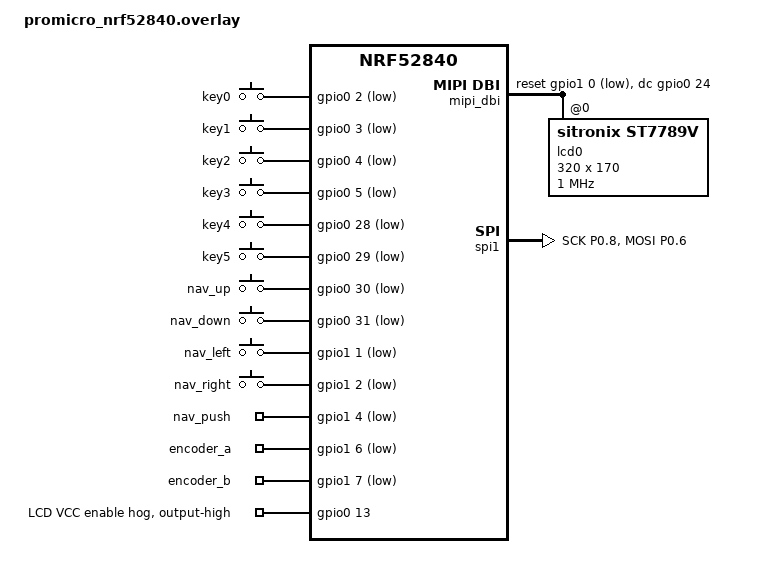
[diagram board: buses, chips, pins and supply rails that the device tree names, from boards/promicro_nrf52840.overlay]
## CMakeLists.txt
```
cmake_minimum_required(VERSION 3.20.0)

find_package(Zephyr REQUIRED HINTS $ENV{ZEPHYR_BASE})
project(ai_code_pager)

option(LCD_DIAGNOSTIC_BUILD "Build the standalone ST7789 wiring diagnostic" OFF)

if(LCD_DIAGNOSTIC_BUILD)
  target_sources(app PRIVATE src/lcd_diagnostic.c)
else()
  target_include_directories(app PRIVATE
    src
    src/assets
  )

  target_sources(app PRIVATE
    src/main.c
    src/app_protocol.c
    src/ble.c
    src/input.c
    src/storage.c
    src/ui.c
    src/assets/pet_animations.c
  )
endif()
```

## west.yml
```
manifest:
  version: "1.2"

  remotes:
    - name: zephyrproject-rtos
      url-base: https://github.com/zephyrproject-rtos

  projects:
    - name: zephyr
      remote: zephyrproject-rtos
      revision: v3.7.1
      import: true

  self:
    path: app
```

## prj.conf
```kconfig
# Core
CONFIG_MAIN_STACK_SIZE=4096
CONFIG_SYSTEM_WORKQUEUE_STACK_SIZE=2048
CONFIG_HEAP_MEM_POOL_SIZE=16384
CONFIG_NEWLIB_LIBC=y
CONFIG_NEWLIB_LIBC_NANO=y

# Release diagnostics are disabled to stay within the write window of the
# nice!nano 0.6.0 UF2 bootloader (application blocks must remain below 0xAD000).
CONFIG_LOG=n
CONFIG_UART_CONSOLE=n

# Peripherals
CONFIG_GPIO=y
CONFIG_SPI=y
CONFIG_DISPLAY=y
CONFIG_DISPLAY_LOG_LEVEL_WRN=y

# LVGL 8 on Zephyr 3.7 LTS
CONFIG_LVGL=y
CONFIG_LV_MEM_CUSTOM=y
CONFIG_LV_Z_MEM_POOL_SIZE=24576
CONFIG_LV_Z_BUFFER_ALLOC_STATIC=y
CONFIG_LV_Z_VDB_SIZE=12
CONFIG_LV_Z_DOUBLE_VDB=n
CONFIG_LV_USE_ANIMIMG=y
CONFIG_LV_USE_LABEL=y
CONFIG_LV_USE_BAR=y
CONFIG_LV_USE_FLEX=y
CONFIG_LV_FONT_MONTSERRAT_12=y
CONFIG_LV_FONT_MONTSERRAT_14=y
CONFIG_LV_COLOR_DEPTH_16=y

# BLE HID + vendor configuration channel
CONFIG_BT=y
CONFIG_BT_PERIPHERAL=y
CONFIG_BT_DEVICE_NAME="AI-Code-Pager"
CONFIG_BT_DEVICE_APPEARANCE=961
CONFIG_BT_MAX_CONN=1
CONFIG_BT_GATT_DYNAMIC_DB=n
CONFIG_BT_SMP=y
CONFIG_BT_BONDABLE=y
CONFIG_BT_SETTINGS=y
CONFIG_BT_GATT_CLIENT=n
CONFIG_BT_BUF_ACL_RX_SIZE=251
CONFIG_BT_BUF_ACL_TX_SIZE=251
CONFIG_BT_L2CAP_TX_MTU=247
CONFIG_BT_ATT_PREPARE_COUNT=2

# Persistent keymap
CONFIG_FLASH=y
CONFIG_FLASH_MAP=y
CONFIG_NVS=y
CONFIG_SETTINGS=y
CONFIG_SETTINGS_NVS=y
CONFIG_MPU_ALLOW_FLASH_WRITE=y

# Power
CONFIG_PM_DEVICE=y
CONFIG_TICKLESS_KERNEL=y

# Keep unused subsystems out of the image
CONFIG_SERIAL=n
CONFIG_CONSOLE=n
CONFIG_PRINTK=n

# GitHub Actions release artifacts
CONFIG_BUILD_OUTPUT_HEX=y
CONFIG_BUILD_OUTPUT_BIN=y
CONFIG_BUILD_OUTPUT_UF2=y
```

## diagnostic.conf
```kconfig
# Minimal standalone LCD test. BLE, LVGL and the application are deliberately
# excluded so the UF2 only verifies power, wiring and the ST7789 SPI link.
CONFIG_MAIN_STACK_SIZE=2048

CONFIG_GPIO=y
CONFIG_SPI=y

CONFIG_BT=n
CONFIG_DISPLAY=n
CONFIG_LVGL=n
CONFIG_PM_DEVICE=n

CONFIG_SERIAL=n
CONFIG_CONSOLE=n
CONFIG_UART_CONSOLE=n
CONFIG_PRINTK=n
CONFIG_LOG=n

CONFIG_BUILD_OUTPUT_HEX=y
CONFIG_BUILD_OUTPUT_BIN=y
CONFIG_BUILD_OUTPUT_UF2=y
```

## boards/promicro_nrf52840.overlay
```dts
#include <zephyr/dt-bindings/gpio/gpio.h>
#include <zephyr/dt-bindings/mipi_dbi/mipi_dbi.h>
#include <zephyr/dt-bindings/pinctrl/nrf-pinctrl.h>

/* SuperMini nRF52840 ProMicro pin map from ProMicroNRF52840Foot.jpg. */

/ {
    chosen {
        zephyr,display = &lcd0;
    };

    aliases {
        input0 = &key0;
        input1 = &key1;
        input2 = &key2;
        input3 = &key3;
        input4 = &key4;
        input5 = &key5;
        nav-up = &nav_up;
        nav-down = &nav_down;
        nav-left = &nav_left;
        nav-right = &nav_right;
        nav-push = &nav_push;
        encoder-a = &encoder_a;
        encoder-b = &encoder_b;
    };

    keys {
        compatible = "gpio-keys";
        key0: key_0 { gpios = <&gpio0 2 (GPIO_PULL_UP | GPIO_ACTIVE_LOW)>; };
        key1: key_1 { gpios = <&gpio0 3 (GPIO_PULL_UP | GPIO_ACTIVE_LOW)>; };
        key2: key_2 { gpios = <&gpio0 4 (GPIO_PULL_UP | GPIO_ACTIVE_LOW)>; };
        key3: key_3 { gpios = <&gpio0 5 (GPIO_PULL_UP | GPIO_ACTIVE_LOW)>; };
        key4: key_4 { gpios = <&gpio0 28 (GPIO_PULL_UP | GPIO_ACTIVE_LOW)>; };
        key5: key_5 { gpios = <&gpio0 29 (GPIO_PULL_UP | GPIO_ACTIVE_LOW)>; };
        nav_up: nav_up { gpios = <&gpio0 30 (GPIO_PULL_UP | GPIO_ACTIVE_LOW)>; };
        nav_down: nav_down { gpios = <&gpio0 31 (GPIO_PULL_UP | GPIO_ACTIVE_LOW)>; };
        nav_left: nav_left { gpios = <&gpio1 1 (GPIO_PULL_UP | GPIO_ACTIVE_LOW)>; };
        nav_right: nav_right { gpios = <&gpio1 2 (GPIO_PULL_UP | GPIO_ACTIVE_LOW)>; };
        nav_push: nav_push { gpios = <&gpio1 4 (GPIO_PULL_UP | GPIO_ACTIVE_LOW)>; };
        encoder_a: encoder_a { gpios = <&gpio1 6 (GPIO_PULL_UP | GPIO_ACTIVE_LOW)>; };
        encoder_b: encoder_b { gpios = <&gpio1 7 (GPIO_PULL_UP | GPIO_ACTIVE_LOW)>; };
    };

    mipi_dbi {
        compatible = "zephyr,mipi-dbi-spi";
        spi-dev = <&spi1>;
        dc-gpios = <&gpio0 24 GPIO_ACTIVE_HIGH>;
        reset-gpios = <&gpio1 0 GPIO_ACTIVE_LOW>;
        write-only;
        #address-cells = <1>;
        #size-cells = <0>;

        lcd0: st7789v@0 {
            compatible = "sitronix,st7789v";
            mipi-max-frequency = <1000000>;
            reg = <0>;
            mipi-cpol;
            mipi-cpha;
            width = <320>;
            height = <170>;
            x-offset = <0>;
            y-offset = <35>;
            vcom = <0x1a>;
            gctrl = <0x35>;
            vrhs = <0x0b>;
            vdvs = <0x20>;
            mdac = <0x70>;
            gamma = <0x01>;
            colmod = <0x05>;
            lcm = <0x2c>;
            porch-param = [0c 0c 00 33 33];
            cmd2en-param = [5a 69 02 01];
            pwctrl1-param = [a4 a1];
            pvgam-param = [00 03 07 08 07 15 2a 44 42 0a 17 18 25 27];
            nvgam-param = [00 03 08 07 07 23 2a 43 42 09 18 17 25 27];
            ram-param = [00 f0];
            rgb-param = [cd 08 14];
            mipi-mode = <MIPI_DBI_MODE_SPI_4WIRE>;
        };
    };
};

/*
 * This SuperMini revision gates its board-edge VCC pin with P0.13.
 * Keep it high from GPIO-controller initialization so the ST7789 is powered
 * before the display driver sends its reset and initialization sequence.
 */
&gpio0 {
    lcd_vcc_enable: lcd_vcc_enable {
        gpio-hog;
        gpios = <13 GPIO_ACTIVE_HIGH>;
        output-high;
        line-name = "LCD VCC enable";
    };

};

&pinctrl {
    spi1_default: spi1_default {
        group1 {
            psels = <NRF_PSEL(SPIM_SCK, 0, 8)>,
                    <NRF_PSEL(SPIM_MOSI, 0, 6)>;
        };
    };

    spi1_sleep: spi1_sleep {
        group1 {
            psels = <NRF_PSEL(SPIM_SCK, 0, 8)>,
                    <NRF_PSEL(SPIM_MOSI, 0, 6)>;
            low-power-enable;
        };
    };
};

&spi1 {
    compatible = "nordic,nrf-spim";
    status = "okay";
    pinctrl-0 = <&spi1_default>;
    pinctrl-1 = <&spi1_sleep>;
    pinctrl-names = "default", "sleep";
    cs-gpios = <&gpio0 22 GPIO_ACTIVE_LOW>;
};
```

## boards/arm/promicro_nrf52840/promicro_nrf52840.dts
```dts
/dts-v1/;
#include <nordic/nrf52840_qiaa.dtsi>

/ {
    model = "ProMicro-compatible nRF52840";
    compatible = "custom,promicro-nrf52840";

    chosen {
        zephyr,sram = &sram0;
        zephyr,flash = &flash0;
        zephyr,code-partition = &code_partition;
    };
};

&gpio0 { status = "okay"; };
&gpio1 { status = "okay"; };
&gpiote { status = "okay"; };

&flash0 {
    partitions {
        compatible = "fixed-partitions";
        #address-cells = <1>;
        #size-cells = <1>;

        bootloader_gap: partition@0 {
            label = "softdevice-gap";
            reg = <0x00000000 0x00026000>;
            read-only;
        };

        code_partition: partition@26000 {
            label = "code-partition";
            reg = <0x00026000 0x000c6000>;
        };

        storage_partition: partition@ec000 {
            label = "storage";
            reg = <0x000ec000 0x00008000>;
        };

        boot_partition: partition@f4000 {
            label = "adafruit-boot";
            reg = <0x000f4000 0x0000c000>;
            read-only;
        };
    };
};
```

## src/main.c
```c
#include "app.h"

#include <zephyr/kernel.h>
#include <zephyr/logging/log.h>
#include <zephyr/sys/util.h>
#include <lvgl.h>

LOG_MODULE_REGISTER(ai_code_pager, LOG_LEVEL_INF);

int main(void)
{
    int err = app_ui_init();
    if (err) {
        LOG_ERR("UI initialization failed (%d)", err);
        return err;
    }

    err = app_ble_init();
    if (err) {
        return err;
    }

    err = app_storage_init();
    if (err) {
        LOG_WRN("Using default keymap because settings failed (%d)", err);
    }

    err = app_input_init();
    if (err) {
        return err;
    }

    err = app_ble_start_advertising();
    if (err) {
        return err;
    }

    LOG_INF("AI-Code-Pager ready");
    while (true) {
        app_ui_process();
        uint32_t wait_ms = lv_timer_handler();
        k_sleep(K_MSEC(CLAMP(wait_ms, 5U, 20U)));
    }
    return 0;
}
```

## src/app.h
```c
#pragma once

#include <stdbool.h>
#include <stddef.h>
#include <stdint.h>

#define APP_INPUT_COUNT 13
#define APP_TEXT_CHUNK_MAX 180

enum app_input_id {
    APP_KEY_1 = 0,
    APP_KEY_2,
    APP_KEY_3,
    APP_KEY_4,
    APP_KEY_5,
    APP_KEY_6,
    APP_NAV_UP,
    APP_NAV_DOWN,
    APP_NAV_LEFT,
    APP_NAV_RIGHT,
    APP_NAV_PUSH,
    APP_ENCODER_CCW,
    APP_ENCODER_CW,
};

enum app_pet_state {
    APP_PET_SCRATCH = 0,
    APP_PET_POINT_DOWN,
    APP_PET_CHEER,
    APP_PET_SLEEP,
    APP_PET_STATE_COUNT,
};

struct app_keymap_entry {
    uint8_t modifiers;
    uint8_t usage;
};

int app_protocol_handle(const uint8_t *data, size_t len);
void app_on_input(uint8_t input_id, bool pressed);

int app_storage_init(void);
const struct app_keymap_entry *app_keymap_get(void);
int app_keymap_set(uint8_t input_id, uint8_t modifiers, uint8_t usage);
int app_keymap_save(void);
int app_keymap_reset(void);

int app_ble_init(void);
int app_ble_start_advertising(void);
bool app_ble_is_connected(void);
int app_ble_hid_report(const uint8_t report[8]);
int app_ble_vendor_notify(const uint8_t *data, size_t len);

int app_input_init(void);

int app_ui_init(void);
void app_ui_process(void);
void app_ui_post_input(uint8_t input_id, bool pressed);
void app_ui_post_text(const uint8_t *text, size_t len, bool start, bool end);
void app_ui_post_pet_state(enum app_pet_state state);
void app_ui_post_connection(bool connected);
```

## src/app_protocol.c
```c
#include "app.h"

#include <errno.h>
#include <string.h>
#include <zephyr/logging/log.h>
#include <zephyr/sys/util.h>

LOG_MODULE_REGISTER(pager_protocol, LOG_LEVEL_INF);

enum pager_opcode {
    PAGER_OP_SET_KEY = 0x01,
    PAGER_OP_SAVE_KEYMAP = 0x02,
    PAGER_OP_RESET_KEYMAP = 0x03,
    PAGER_OP_GET_KEYMAP = 0x04,
    PAGER_OP_TEXT = 0x10,
    PAGER_OP_PET_STATE = 0x11,
    PAGER_OP_PING = 0x20,
    PAGER_EVT_INPUT = 0x80,
    PAGER_EVT_ACK = 0x81,
    PAGER_EVT_KEYMAP = 0x82,
};

static bool pressed[APP_INPUT_COUNT];

static void send_ack(uint8_t opcode, int status)
{
    const uint8_t packet[] = {
        PAGER_EVT_ACK,
        opcode,
        (uint8_t)(status == 0 ? 0 : -status),
    };
    (void)app_ble_vendor_notify(packet, sizeof(packet));
}

static void send_keymap(void)
{
    uint8_t packet[2 + APP_INPUT_COUNT * 2];
    const struct app_keymap_entry *map = app_keymap_get();

    packet[0] = PAGER_EVT_KEYMAP;
    packet[1] = APP_INPUT_COUNT;
    for (size_t i = 0; i < APP_INPUT_COUNT; ++i) {
        packet[2 + i * 2] = map[i].modifiers;
        packet[3 + i * 2] = map[i].usage;
    }
    (void)app_ble_vendor_notify(packet, sizeof(packet));
}

static void rebuild_hid_report(void)
{
    uint8_t report[8] = { 0 };
    const struct app_keymap_entry *map = app_keymap_get();
    size_t key_slot = 2;

    for (size_t i = 0; i < APP_INPUT_COUNT; ++i) {
        if (!pressed[i] || map[i].usage == 0) {
            continue;
        }
        report[0] |= map[i].modifiers;
        if (key_slot < sizeof(report)) {
            report[key_slot++] = map[i].usage;
        }
    }
    (void)app_ble_hid_report(report);
}

void app_on_input(uint8_t input_id, bool is_pressed)
{
    if (input_id >= APP_INPUT_COUNT) {
        return;
    }

    pressed[input_id] = is_pressed;
    rebuild_hid_report();
    app_ui_post_input(input_id, is_pressed);

    const uint8_t event[] = { PAGER_EVT_INPUT, input_id, is_pressed ? 1 : 0 };
    (void)app_ble_vendor_notify(event, sizeof(event));
}

int app_protocol_handle(const uint8_t *data, size_t len)
{
    if (data == NULL || len == 0) {
        return -EINVAL;
    }

    int err = 0;
    switch (data[0]) {
    case PAGER_OP_SET_KEY:
        if (len != 4) {
            err = -EMSGSIZE;
            break;
        }
        err = app_keymap_set(data[1], data[2], data[3]);
        break;
    case PAGER_OP_SAVE_KEYMAP:
        err = app_keymap_save();
        break;
    case PAGER_OP_RESET_KEYMAP:
        err = app_keymap_reset();
        if (!err) {
            send_keymap();
        }
        break;
    case PAGER_OP_GET_KEYMAP:
        send_keymap();
        break;
    case PAGER_OP_TEXT:
        if (len < 3) {
            err = -EMSGSIZE;
            break;
        }
        app_ui_post_text(&data[2], len - 2, (data[1] & 0x01) != 0,
                         (data[1] & 0x02) != 0);
        break;
    case PAGER_OP_PET_STATE:
        if (len != 2 || data[1] >= APP_PET_STATE_COUNT) {
            err = -EINVAL;
            break;
        }
        app_ui_post_pet_state((enum app_pet_state)data[1]);
        break;
    case PAGER_OP_PING:
        break;
    default:
        err = -ENOTSUP;
        break;
    }

    send_ack(data[0], err);
    return err;
}
```

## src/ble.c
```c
#include "app.h"

#include <errno.h>
#include <string.h>
#include <zephyr/bluetooth/bluetooth.h>
#include <zephyr/bluetooth/conn.h>
#include <zephyr/bluetooth/gatt.h>
#include <zephyr/bluetooth/hci.h>
#include <zephyr/bluetooth/uuid.h>
#include <zephyr/logging/log.h>
#include <zephyr/sys/util.h>

LOG_MODULE_REGISTER(pager_ble, LOG_LEVEL_INF);

#define UUID_HID_SERVICE       BT_UUID_DECLARE_16(0x1812)
#define UUID_HID_INFO          BT_UUID_DECLARE_16(0x2a4a)
#define UUID_HID_REPORT_MAP    BT_UUID_DECLARE_16(0x2a4b)
#define UUID_HID_CONTROL_POINT BT_UUID_DECLARE_16(0x2a4c)
#define UUID_HID_REPORT        BT_UUID_DECLARE_16(0x2a4d)
#define UUID_HID_PROTOCOL_MODE BT_UUID_DECLARE_16(0x2a4e)
#define UUID_REPORT_REFERENCE  BT_UUID_DECLARE_16(0x2908)

#define PAGER_UUID_SERVICE_VAL \
    BT_UUID_128_ENCODE(0x12345678, 0x1234, 0x5678, 0x1234, 0x56789abcdef0)
#define PAGER_UUID_RX_VAL \
    BT_UUID_128_ENCODE(0x12345678, 0x1234, 0x5678, 0x1234, 0x56789abcdef1)
#define PAGER_UUID_TX_VAL \
    BT_UUID_128_ENCODE(0x12345678, 0x1234, 0x5678, 0x1234, 0x56789abcdef2)

static struct bt_uuid_128 pager_service_uuid = BT_UUID_INIT_128(PAGER_UUID_SERVICE_VAL);
static struct bt_uuid_128 pager_rx_uuid = BT_UUID_INIT_128(PAGER_UUID_RX_VAL);
static struct bt_uuid_128 pager_tx_uuid = BT_UUID_INIT_128(PAGER_UUID_TX_VAL);

static struct bt_conn *active_conn;
static bool hid_notify_enabled;
static bool vendor_notify_enabled;
static uint8_t protocol_mode = 1;
static uint8_t last_hid_report[8];

static const uint8_t hid_information[] = { 0x11, 0x01, 0x00, 0x02 };
static const uint8_t report_reference[] = { 0x01, 0x01 };
static const uint8_t keyboard_report_map[] = {
    0x05, 0x01,       /* Usage Page (Generic Desktop) */
    0x09, 0x06,       /* Usage (Keyboard) */
    0xa1, 0x01,       /* Collection (Application) */
    0x85, 0x01,       /*   Report ID (1) */
    0x05, 0x07,       /*   Usage Page (Keyboard) */
    0x19, 0xe0,       /*   Usage Minimum (Left Control) */
    0x29, 0xe7,       /*   Usage Maximum (Right GUI) */
    0x15, 0x00,       /*   Logical Minimum (0) */
    0x25, 0x01,       /*   Logical Maximum (1) */
    0x75, 0x01,       /*   Report Size (1) */
    0x95, 0x08,       /*   Report Count (8) */
    0x81, 0x02,       /*   Input (Data, Variable, Absolute) */
    0x95, 0x01,       /*   Report Count (1) */
    0x75, 0x08,       /*   Report Size (8) */
    0x81, 0x01,       /*   Input (Constant) */
    0x95, 0x06,       /*   Report Count (6) */
    0x75, 0x08,       /*   Report Size (8) */
    0x15, 0x00,       /*   Logical Minimum (0) */
    0x25, 0x73,       /*   Logical Maximum (115) */
    0x19, 0x00,       /*   Usage Minimum (0) */
    0x29, 0x73,       /*   Usage Maximum (Keyboard Application) */
    0x81, 0x00,       /*   Input (Data, Array) */
    0xc0,             /* End Collection */
};

static const struct bt_data advertising_data[] = {
    BT_DATA_BYTES(BT_DATA_FLAGS, BT_LE_AD_GENERAL | BT_LE_AD_NO_BREDR),
    BT_DATA_BYTES(BT_DATA_UUID16_ALL, BT_UUID_16_ENCODE(0x1812)),
    BT_DATA_BYTES(BT_DATA_UUID128_ALL, PAGER_UUID_SERVICE_VAL),
};

static const struct bt_data scan_response_data[] = {
    BT_DATA(BT_DATA_NAME_COMPLETE, CONFIG_BT_DEVICE_NAME,
            sizeof(CONFIG_BT_DEVICE_NAME) - 1),
};

static ssize_t read_const(struct bt_conn *conn, const struct bt_gatt_attr *attr,
                          void *buf, uint16_t len, uint16_t offset,
                          const void *data, uint16_t data_len)
{
    return bt_gatt_attr_read(conn, attr, buf, len, offset, data, data_len);
}

static ssize_t read_hid_info(struct bt_conn *conn, const struct bt_gatt_attr *attr,
                             void *buf, uint16_t len, uint16_t offset)
{
    return read_const(conn, attr, buf, len, offset, hid_information,
                      sizeof(hid_information));
}

static ssize_t read_report_map(struct bt_conn *conn, const struct bt_gatt_attr *attr,
                               void *buf, uint16_t len, uint16_t offset)
{
    return read_const(conn, attr, buf, len, offset, keyboard_report_map,
                      sizeof(keyboard_report_map));
}

static ssize_t read_protocol_mode(struct bt_conn *conn,
                                  const struct bt_gatt_attr *attr, void *buf,
                                  uint16_t len, uint16_t offset)
{
    return read_const(conn, attr, buf, len, offset, &protocol_mode,
                      sizeof(protocol_mode));
}

static ssize_t write_protocol_mode(struct bt_conn *conn,
                                   const struct bt_gatt_attr *attr,
                                   const void *buf, uint16_t len,
                                   uint16_t offset, uint8_t flags)
{
    if (offset != 0 || len != 1) {
        return BT_GATT_ERR(BT_ATT_ERR_INVALID_ATTRIBUTE_LEN);
    }
    protocol_mode = *(const uint8_t *)buf;
    return len;
}

static ssize_t write_control_point(struct bt_conn *conn,
                                   const struct bt_gatt_attr *attr,
                                   const void *buf, uint16_t len,
                                   uint16_t offset, uint8_t flags)
{
    return (offset == 0 && len == 1) ? len
                                     : BT_GATT_ERR(BT_ATT_ERR_INVALID_ATTRIBUTE_LEN);
}

static ssize_t read_hid_report(struct bt_conn *conn,
                               const struct bt_gatt_attr *attr, void *buf,
                               uint16_t len, uint16_t offset)
{
    return read_const(conn, attr, buf, len, offset, last_hid_report,
                      sizeof(last_hid_report));
}

static ssize_t read_report_reference(struct bt_conn *conn,
                                     const struct bt_gatt_attr *attr, void *buf,
                                     uint16_t len, uint16_t offset)
{
    return read_const(conn, attr, buf, len, offset, report_reference,
                      sizeof(report_reference));
}

static void hid_ccc_changed(const struct bt_gatt_attr *attr, uint16_t value)
{
    hid_notify_enabled = (value == BT_GATT_CCC_NOTIFY);
}

BT_GATT_SERVICE_DEFINE(hid_svc,
    BT_GATT_PRIMARY_SERVICE(UUID_HID_SERVICE),
    BT_GATT_CHARACTERISTIC(UUID_HID_INFO, BT_GATT_CHRC_READ,
                           BT_GATT_PERM_READ, read_hid_info, NULL, NULL),
    BT_GATT_CHARACTERISTIC(UUID_HID_REPORT_MAP, BT_GATT_CHRC_READ,
                           BT_GATT_PERM_READ, read_report_map, NULL, NULL),
    BT_GATT_CHARACTERISTIC(UUID_HID_PROTOCOL_MODE,
                           BT_GATT_CHRC_READ | BT_GATT_CHRC_WRITE_WITHOUT_RESP,
                           BT_GATT_PERM_READ | BT_GATT_PERM_WRITE,
                           read_protocol_mode, write_protocol_mode, NULL),
    BT_GATT_CHARACTERISTIC(UUID_HID_CONTROL_POINT,
                           BT_GATT_CHRC_WRITE_WITHOUT_RESP,
                           BT_GATT_PERM_WRITE, NULL, write_control_point, NULL),
    BT_GATT_CHARACTERISTIC(UUID_HID_REPORT,
                           BT_GATT_CHRC_READ | BT_GATT_CHRC_NOTIFY,
                           BT_GATT_PERM_READ, read_hid_report, NULL, NULL),
    BT_GATT_CCC(hid_ccc_changed, BT_GATT_PERM_READ | BT_GATT_PERM_WRITE),
    BT_GATT_DESCRIPTOR(UUID_REPORT_REFERENCE, BT_GATT_PERM_READ,
                       read_report_reference, NULL, NULL)
);

static ssize_t write_vendor_rx(struct bt_conn *conn,
                               const struct bt_gatt_attr *attr,
                               const void *buf, uint16_t len,
                               uint16_t offset, uint8_t flags)
{
    if (offset != 0 || len == 0) {
        return BT_GATT_ERR(BT_ATT_ERR_INVALID_OFFSET);
    }
    int err = app_protocol_handle(buf, len);
    if (err == -EMSGSIZE) {
        return BT_GATT_ERR(BT_ATT_ERR_INVALID_ATTRIBUTE_LEN);
    }
    return len;
}

static void vendor_ccc_changed(const struct bt_gatt_attr *attr, uint16_t value)
{
    vendor_notify_enabled = (value == BT_GATT_CCC_NOTIFY);
}

BT_GATT_SERVICE_DEFINE(pager_svc,
    BT_GATT_PRIMARY_SERVICE(&pager_service_uuid),
    BT_GATT_CHARACTERISTIC(&pager_rx_uuid.uuid,
                           BT_GATT_CHRC_WRITE | BT_GATT_CHRC_WRITE_WITHOUT_RESP,
                           BT_GATT_PERM_WRITE, NULL, write_vendor_rx, NULL),
    BT_GATT_CHARACTERISTIC(&pager_tx_uuid.uuid, BT_GATT_CHRC_NOTIFY,
                           BT_GATT_PERM_NONE, NULL, NULL, NULL),
    BT_GATT_CCC(vendor_ccc_changed, BT_GATT_PERM_READ | BT_GATT_PERM_WRITE)
);

static void connected(struct bt_conn *conn, uint8_t conn_err)
{
    if (conn_err != 0) {
        LOG_WRN("Connection failed (0x%02x)", conn_err);
        return;
    }
    active_conn = bt_conn_ref(conn);
    app_ui_post_connection(true);
    LOG_INF("BLE connected");
}

static void disconnected(struct bt_conn *conn, uint8_t reason)
{
    if (active_conn != NULL) {
        bt_conn_unref(active_conn);
        active_conn = NULL;
    }
    hid_notify_enabled = false;
    vendor_notify_enabled = false;
    memset(last_hid_report, 0, sizeof(last_hid_report));
    app_ui_post_connection(false);
    LOG_INF("BLE disconnected (0x%02x)", reason);
    (void)app_ble_start_advertising();
}

BT_CONN_CB_DEFINE(conn_callbacks) = {
    .connected = connected,
    .disconnected = disconnected,
};

int app_ble_init(void)
{
    int err = bt_enable(NULL);
    if (err) {
        LOG_ERR("Bluetooth init failed (%d)", err);
    }
    return err;
}

int app_ble_start_advertising(void)
{
    int err = bt_le_adv_start(BT_LE_ADV_CONN, advertising_data,
                              ARRAY_SIZE(advertising_data), scan_response_data,
                              ARRAY_SIZE(scan_response_data));
    if (err && err != -EALREADY) {
        LOG_ERR("Advertising failed (%d)", err);
    }
    return err == -EALREADY ? 0 : err;
}

bool app_ble_is_connected(void)
{
    return active_conn != NULL;
}

int app_ble_hid_report(const uint8_t report[8])
{
    memcpy(last_hid_report, report, sizeof(last_hid_report));
    if (active_conn == NULL || !hid_notify_enabled) {
        return -ENOTCONN;
    }
    return bt_gatt_notify(active_conn, &hid_svc.attrs[10], last_hid_report,
                          sizeof(last_hid_report));
}

int app_ble_vendor_notify(const uint8_t *data, size_t len)
{
    if (active_conn == NULL || !vendor_notify_enabled) {
        return -ENOTCONN;
    }
    return bt_gatt_notify(active_conn, &pager_svc.attrs[4], data, len);
}
```

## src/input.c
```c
#include "app.h"

#include <errno.h>
#include <zephyr/device.h>
#include <zephyr/devicetree.h>
#include <zephyr/drivers/gpio.h>
#include <zephyr/kernel.h>
#include <zephyr/logging/log.h>
#include <zephyr/sys/atomic.h>
#include <zephyr/sys/util.h>

LOG_MODULE_REGISTER(pager_input, LOG_LEVEL_INF);

#define BUTTON_COUNT 11

static const struct gpio_dt_spec buttons[BUTTON_COUNT] = {
    GPIO_DT_SPEC_GET(DT_ALIAS(input0), gpios),
    GPIO_DT_SPEC_GET(DT_ALIAS(input1), gpios),
    GPIO_DT_SPEC_GET(DT_ALIAS(input2), gpios),
    GPIO_DT_SPEC_GET(DT_ALIAS(input3), gpios),
    GPIO_DT_SPEC_GET(DT_ALIAS(input4), gpios),
    GPIO_DT_SPEC_GET(DT_ALIAS(input5), gpios),
    GPIO_DT_SPEC_GET(DT_ALIAS(nav_up), gpios),
    GPIO_DT_SPEC_GET(DT_ALIAS(nav_down), gpios),
    GPIO_DT_SPEC_GET(DT_ALIAS(nav_left), gpios),
    GPIO_DT_SPEC_GET(DT_ALIAS(nav_right), gpios),
    GPIO_DT_SPEC_GET(DT_ALIAS(nav_push), gpios),
};

static const struct gpio_dt_spec encoder_a =
    GPIO_DT_SPEC_GET(DT_ALIAS(encoder_a), gpios);
static const struct gpio_dt_spec encoder_b =
    GPIO_DT_SPEC_GET(DT_ALIAS(encoder_b), gpios);

static struct gpio_callback button_callbacks[BUTTON_COUNT];
static struct gpio_callback encoder_callbacks[2];
static bool button_state[BUTTON_COUNT];
static struct k_work_delayable button_scan_work;
static struct k_work encoder_work;
static uint8_t encoder_previous;
static int8_t encoder_accumulator;
static atomic_t encoder_pending;

static void scan_buttons(struct k_work *work)
{
    for (uint8_t i = 0; i < BUTTON_COUNT; ++i) {
        int value = gpio_pin_get_dt(&buttons[i]);
        if (value < 0 || (bool)value == button_state[i]) {
            continue;
        }
        button_state[i] = (bool)value;
        app_on_input(i, button_state[i]);
    }
}

static void button_irq(const struct device *port, struct gpio_callback *cb,
                       gpio_port_pins_t pins)
{
    (void)k_work_reschedule(&button_scan_work, K_MSEC(10));
}

static void report_encoder(struct k_work *work)
{
    atomic_val_t steps = atomic_set(&encoder_pending, 0);
    uint8_t input_id = steps > 0 ? APP_ENCODER_CW : APP_ENCODER_CCW;
    atomic_val_t step_count = steps < 0 ? -steps : steps;

    for (atomic_val_t i = 0; i < step_count; ++i) {
        app_on_input(input_id, true);
        app_on_input(input_id, false);
    }
}

static void encoder_irq(const struct device *port, struct gpio_callback *cb,
                        gpio_port_pins_t pins)
{
    static const int8_t transition[16] = {
         0, -1,  1,  0,
         1,  0,  0, -1,
        -1,  0,  0,  1,
         0,  1, -1,  0,
    };
    int a = gpio_pin_get_dt(&encoder_a);
    int b = gpio_pin_get_dt(&encoder_b);
    if (a < 0 || b < 0) {
        return;
    }

    uint8_t current = ((uint8_t)a << 1) | (uint8_t)b;
    encoder_accumulator += transition[(encoder_previous << 2) | current];
    encoder_previous = current;

    if (encoder_accumulator >= 4) {
        atomic_inc(&encoder_pending);
        encoder_accumulator = 0;
        (void)k_work_submit(&encoder_work);
    } else if (encoder_accumulator <= -4) {
        atomic_dec(&encoder_pending);
        encoder_accumulator = 0;
        (void)k_work_submit(&encoder_work);
    }
}

static int configure_input(const struct gpio_dt_spec *spec,
                           struct gpio_callback *callback,
                           gpio_callback_handler_t handler)
{
    if (!gpio_is_ready_dt(spec)) {
        return -ENODEV;
    }
    int err = gpio_pin_configure_dt(spec, GPIO_INPUT);
    if (err) {
        return err;
    }
    gpio_init_callback(callback, handler, BIT(spec->pin));
    err = gpio_add_callback(spec->port, callback);
    if (err) {
        return err;
    }
    return gpio_pin_interrupt_configure_dt(spec, GPIO_INT_EDGE_BOTH);
}

int app_input_init(void)
{
    k_work_init_delayable(&button_scan_work, scan_buttons);
    k_work_init(&encoder_work, report_encoder);

    for (size_t i = 0; i < BUTTON_COUNT; ++i) {
        int err = configure_input(&buttons[i], &button_callbacks[i], button_irq);
        if (err) {
            LOG_ERR("Button %u init failed (%d)", (unsigned)i, err);
            return err;
        }
        button_state[i] = gpio_pin_get_dt(&buttons[i]) > 0;
    }

    int err = configure_input(&encoder_a, &encoder_callbacks[0], encoder_irq);
    if (err) {
        return err;
    }
    err = configure_input(&encoder_b, &encoder_callbacks[1], encoder_irq);
    if (err) {
        return err;
    }

    encoder_previous = ((uint8_t)(gpio_pin_get_dt(&encoder_a) > 0) << 1) |
                       (uint8_t)(gpio_pin_get_dt(&encoder_b) > 0);
    LOG_INF("13 logical inputs ready");
    return 0;
}
```

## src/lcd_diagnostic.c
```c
#include <errno.h>
#include <stddef.h>
#include <stdint.h>

#include <zephyr/device.h>
#include <zephyr/devicetree.h>
#include <zephyr/drivers/gpio.h>
#include <zephyr/drivers/spi.h>
#include <zephyr/kernel.h>

#define LCD_WIDTH  320U
#define LCD_HEIGHT 170U

#define ST7789_SLPOUT  0x11
#define ST7789_INVON   0x21
#define ST7789_DISPON  0x29
#define ST7789_CASET   0x2A
#define ST7789_RASET   0x2B
#define ST7789_RAMWR   0x2C
#define ST7789_MADCTL  0x36
#define ST7789_COLMOD  0x3A

static const struct device *const spi_dev = DEVICE_DT_GET(DT_NODELABEL(spi1));
static const struct gpio_dt_spec lcd_dc =
	GPIO_DT_SPEC_GET(DT_PATH(mipi_dbi), dc_gpios);
static const struct gpio_dt_spec lcd_reset =
	GPIO_DT_SPEC_GET(DT_PATH(mipi_dbi), reset_gpios);
static const struct gpio_dt_spec lcd_cs =
	GPIO_DT_SPEC_GET_BY_IDX(DT_NODELABEL(spi1), cs_gpios, 0);

/*
 * The vendor STM32 hardware-SPI example uses CPOL=1/CPHA=1. Start slowly so
 * jumper wires and breadboards are not being tested at their signal limit.
 */
static const struct spi_config spi_cfg = {
	.frequency = 1000000U,
	.operation = SPI_OP_MODE_MASTER | SPI_WORD_SET(8) | SPI_TRANSFER_MSB |
		     SPI_MODE_CPOL | SPI_MODE_CPHA,
	.slave = 0,
};

static int spi_send(const uint8_t *data, size_t length)
{
	struct spi_buf buffer = {
		.buf = (void *)data,
		.len = length,
	};
	const struct spi_buf_set buffers = {
		.buffers = &buffer,
		.count = 1,
	};

	return spi_write(spi_dev, &spi_cfg, &buffers);
}

static int lcd_command(uint8_t command, const uint8_t *data, size_t length)
{
	int err;

	/* gpio_pin_set_dt() takes logical values; CS is active-low. */
	(void)gpio_pin_set_dt(&lcd_cs, 1);
	(void)gpio_pin_set_dt(&lcd_dc, 0);
	err = spi_send(&command, sizeof(command));

	if ((err == 0) && (length != 0U)) {
		(void)gpio_pin_set_dt(&lcd_dc, 1);
		err = spi_send(data, length);
	}

	(void)gpio_pin_set_dt(&lcd_cs, 0);
	return err;
}

static int lcd_initialize(void)
{
	static const uint8_t madctl[] = { 0x70 };
	static const uint8_t colmod[] = { 0x05 };
	static const uint8_t porch[] = { 0x0C, 0x0C, 0x00, 0x33, 0x33 };
	static const uint8_t gctrl[] = { 0x35 };
	static const uint8_t vcom[] = { 0x1A };
	static const uint8_t lcm[] = { 0x2C };
	static const uint8_t vdv_vrh_en[] = { 0x01 };
	static const uint8_t vrhs[] = { 0x0B };
	static const uint8_t vdvs[] = { 0x20 };
	static const uint8_t frctrl2[] = { 0x0F };
	static const uint8_t pwctrl1[] = { 0xA4, 0xA1 };
	static const uint8_t pvgam[] = {
		0x00, 0x03, 0x07, 0x08, 0x07, 0x15, 0x2A,
		0x44, 0x42, 0x0A, 0x17, 0x18, 0x25, 0x27,
	};
	static const uint8_t nvgam[] = {
		0x00, 0x03, 0x08, 0x07, 0x07, 0x23, 0x2A,
		0x43, 0x42, 0x09, 0x18, 0x17, 0x25, 0x27,
	};
	int err;

	/* Match the module example: reset low 30 ms, then settle for 120 ms. */
	(void)gpio_pin_set_dt(&lcd_reset, 1);
	k_msleep(30);
	(void)gpio_pin_set_dt(&lcd_reset, 0);
	k_msleep(120);

	err = lcd_command(ST7789_SLPOUT, NULL, 0);
	if (err != 0) {
		return err;
	}
	k_msleep(120);

#define SEND(command_, data_)                                                    \
	do {                                                                       \
		err = lcd_command((command_), (data_), sizeof(data_));               \
		if (err != 0) {                                                      \
			return err;                                                    \
		}                                                                      \
	} while (false)

	SEND(ST7789_MADCTL, madctl);
	SEND(ST7789_COLMOD, colmod);
	SEND(0xB2, porch);
	SEND(0xB7, gctrl);
	SEND(0xBB, vcom);
	SEND(0xC0, lcm);
	SEND(0xC2, vdv_vrh_en);
	SEND(0xC3, vrhs);
	SEND(0xC4, vdvs);
	SEND(0xC6, frctrl2);
	SEND(0xD0, pwctrl1);

	err = lcd_command(ST7789_INVON, NULL, 0);
	if (err != 0) {
		return err;
	}

	SEND(0xE0, pvgam);
	SEND(0xE1, nvgam);

#undef SEND

	err = lcd_command(ST7789_DISPON, NULL, 0);
	k_msleep(100);
	return err;
}

static int lcd_fill(uint16_t rgb565)
{
	static const uint8_t columns[] = { 0x00, 0x00, 0x01, 0x3F };
	static const uint8_t rows[] = { 0x00, 0x23, 0x00, 0xCC };
	uint8_t pixels[128];
	uint32_t remaining = LCD_WIDTH * LCD_HEIGHT;
	int err;

	err = lcd_command(ST7789_CASET, columns, sizeof(columns));
	if (err != 0) {
		return err;
	}
	err = lcd_command(ST7789_RASET, rows, sizeof(rows));
	if (err != 0) {
		return err;
	}

	for (size_t index = 0; index < sizeof(pixels); index += 2U) {
		pixels[index] = (uint8_t)(rgb565 >> 8);
		pixels[index + 1U] = (uint8_t)rgb565;
	}

	(void)gpio_pin_set_dt(&lcd_cs, 1);
	(void)gpio_pin_set_dt(&lcd_dc, 0);
	{
		const uint8_t command = ST7789_RAMWR;

		err = spi_send(&command, sizeof(command));
	}
	(void)gpio_pin_set_dt(&lcd_dc, 1);

	while ((err == 0) && (remaining != 0U)) {
		const uint32_t batch = MIN(remaining, (uint32_t)(sizeof(pixels) / 2U));

		err = spi_send(pixels, batch * 2U);
		remaining -= batch;
	}

	(void)gpio_pin_set_dt(&lcd_cs, 0);
	return err;
}

int main(void)
{
	static const uint16_t colors[] = {
		0xF800, /* red */
		0x07E0, /* green */
		0x001F, /* blue */
		0xFFFF, /* white */
	};
	size_t color_index = 0;

	if (!device_is_ready(spi_dev) || !gpio_is_ready_dt(&lcd_dc) ||
	    !gpio_is_ready_dt(&lcd_reset) || !gpio_is_ready_dt(&lcd_cs)) {
		return -ENODEV;
	}

	if ((gpio_pin_configure_dt(&lcd_dc, GPIO_OUTPUT_INACTIVE) != 0) ||
	    (gpio_pin_configure_dt(&lcd_reset, GPIO_OUTPUT_INACTIVE) != 0) ||
	    (gpio_pin_configure_dt(&lcd_cs, GPIO_OUTPUT_INACTIVE) != 0)) {
		return -EIO;
	}

	/* P0.13's GPIO hog has enabled board-edge VCC by this point. */
	k_msleep(150);

	for (;;) {
		if (lcd_initialize() != 0) {
			k_msleep(1000);
			continue;
		}

		while (lcd_fill(colors[color_index]) == 0) {
			color_index = (color_index + 1U) % ARRAY_SIZE(colors);
			k_msleep(1500);
		}
	}

	return 0;
}
```

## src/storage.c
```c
#include "app.h"

#include <errno.h>
#include <string.h>
#include <zephyr/logging/log.h>
#include <zephyr/settings/settings.h>

LOG_MODULE_REGISTER(pager_storage, LOG_LEVEL_INF);

#define KEYMAP_VERSION 1U

struct stored_keymap {
    uint32_t version;
    struct app_keymap_entry entries[APP_INPUT_COUNT];
};

static const struct app_keymap_entry default_keymap[APP_INPUT_COUNT] = {
    [APP_KEY_1] = { .usage = 0x68 }, /* F13 */
    [APP_KEY_2] = { .usage = 0x69 }, /* F14 */
    [APP_KEY_3] = { .usage = 0x6a }, /* F15 */
    [APP_KEY_4] = { .usage = 0x6b }, /* F16 */
    [APP_KEY_5] = { .usage = 0x6c }, /* F17 */
    [APP_KEY_6] = { .usage = 0x6d }, /* F18 */
    [APP_NAV_UP] = { .usage = 0x52 },
    [APP_NAV_DOWN] = { .usage = 0x51 },
    [APP_NAV_LEFT] = { .usage = 0x50 },
    [APP_NAV_RIGHT] = { .usage = 0x4f },
    [APP_NAV_PUSH] = { .usage = 0x28 }, /* Enter */
    [APP_ENCODER_CCW] = { .usage = 0x4b }, /* Page Up */
    [APP_ENCODER_CW] = { .usage = 0x4e }, /* Page Down */
};

static struct stored_keymap keymap;

static void load_defaults(void)
{
    keymap.version = KEYMAP_VERSION;
    memcpy(keymap.entries, default_keymap, sizeof(default_keymap));
}

static int keymap_settings_set(const char *name, size_t len,
                               settings_read_cb read_cb, void *cb_arg)
{
    if (strcmp(name, "keymap") != 0 || len != sizeof(keymap)) {
        return -ENOENT;
    }

    struct stored_keymap incoming;
    ssize_t read = read_cb(cb_arg, &incoming, sizeof(incoming));
    if (read != sizeof(incoming) || incoming.version != KEYMAP_VERSION) {
        LOG_WRN("Ignoring incompatible keymap");
        return 0;
    }

    keymap = incoming;
    LOG_INF("Loaded keymap v%u", keymap.version);
    return 0;
}

SETTINGS_STATIC_HANDLER_DEFINE(pager, "pager", NULL, keymap_settings_set,
                               NULL, NULL);

int app_storage_init(void)
{
    load_defaults();
    int err = settings_subsys_init();
    if (err) {
        LOG_ERR("settings_subsys_init failed (%d)", err);
        return err;
    }
    err = settings_load();
    if (err) {
        LOG_ERR("settings_load failed (%d)", err);
    }
    return err;
}

const struct app_keymap_entry *app_keymap_get(void)
{
    return keymap.entries;
}

int app_keymap_set(uint8_t input_id, uint8_t modifiers, uint8_t usage)
{
    if (input_id >= APP_INPUT_COUNT) {
        return -EINVAL;
    }
    keymap.entries[input_id].modifiers = modifiers;
    keymap.entries[input_id].usage = usage;
    return 0;
}

int app_keymap_save(void)
{
    return settings_save_one("pager/keymap", &keymap, sizeof(keymap));
}

int app_keymap_reset(void)
{
    load_defaults();
    return app_keymap_save();
}
```

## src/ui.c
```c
#include "app.h"
#include "assets/pet_animations.h"

#include <errno.h>
#include <stdio.h>
#include <string.h>
#include <zephyr/device.h>
#include <zephyr/devicetree.h>
#include <zephyr/drivers/display.h>
#include <zephyr/kernel.h>
#include <zephyr/logging/log.h>
#include <zephyr/sys/util.h>
#include <lvgl.h>

LOG_MODULE_REGISTER(pager_ui, LOG_LEVEL_INF);

#define COLOR_BG       lv_color_hex(0x101713)
#define COLOR_PANEL    lv_color_hex(0x15211c)
#define COLOR_LINE     lv_color_hex(0x426448)
#define COLOR_GREEN    lv_color_hex(0x57ae5b)
#define COLOR_CREAM    lv_color_hex(0xe8dda8)
#define COLOR_DIM      lv_color_hex(0x8ba487)
#define COLOR_PINK     lv_color_hex(0xe87e75)

enum ui_event_type {
    UI_EVENT_INPUT,
    UI_EVENT_TEXT,
    UI_EVENT_PET,
    UI_EVENT_CONNECTION,
};

struct ui_event {
    uint8_t type;
    uint8_t arg;
    uint8_t flags;
    uint8_t len;
    char data[APP_TEXT_CHUNK_MAX];
};

K_MSGQ_DEFINE(ui_queue, sizeof(struct ui_event), 8, 4);

static const struct device *display_dev = DEVICE_DT_GET(DT_CHOSEN(zephyr_display));

static lv_obj_t *pet_anim;
static lv_obj_t *status_label;
static lv_obj_t *message_label;
static lv_obj_t *menu_label;
static lv_obj_t *hint_label;
static char message_buffer[512] = "Waiting for your coding agent...\n\n"
                                  "Turn the RKJXT control to browse actions.";
static size_t message_length;
static uint8_t menu_index;

static const char *const menu_items[] = { "APPROVE", "DETAILS", "REJECT" };
static const char *const input_names[APP_INPUT_COUNT] = {
    "K1", "K2", "K3", "K4", "K5", "K6", "UP", "DOWN", "LEFT",
    "RIGHT", "PUSH", "DIAL-", "DIAL+",
};

static const lv_img_dsc_t *scratch_frames[] = {
    &pet_scratch_0, &pet_scratch_1, &pet_scratch_2, &pet_scratch_3,
};
static const lv_img_dsc_t *cheer_frames[] = {
    &pet_cheer_0, &pet_cheer_1, &pet_cheer_2, &pet_cheer_3,
};
static const lv_img_dsc_t *sleep_frames[] = {
    &pet_sleep_0, &pet_sleep_1, &pet_sleep_2, &pet_sleep_3,
};

static void set_pet(enum app_pet_state state)
{
    const void **frames = (const void **)scratch_frames;
    uint32_t duration = 680;

    switch (state) {
    case APP_PET_POINT_DOWN:
        /* Keep protocol state 1 compatible after removing this asset. */
        break;
    case APP_PET_CHEER:
        frames = (const void **)cheer_frames;
        duration = 520;
        break;
    case APP_PET_SLEEP:
        frames = (const void **)sleep_frames;
        duration = 1100;
        break;
    case APP_PET_SCRATCH:
    default:
        break;
    }

    lv_animimg_set_src(pet_anim, frames, 4);
    lv_animimg_set_duration(pet_anim, duration);
    lv_animimg_set_repeat_count(pet_anim, LV_ANIM_REPEAT_INFINITE);
    lv_animimg_start(pet_anim);
}

static void show_lcd_self_test(lv_obj_t *screen)
{
    static const uint32_t colors[] = {
        0xff0000, 0x00ff00, 0x0000ff, 0xffffff,
    };

    lv_obj_set_style_bg_color(screen, lv_color_black(), 0);
    lv_obj_set_style_bg_opa(screen, LV_OPA_COVER, 0);
    lv_obj_clear_flag(screen, LV_OBJ_FLAG_SCROLLABLE);

    for (size_t i = 0; i < ARRAY_SIZE(colors); ++i) {
        lv_obj_t *bar = lv_obj_create(screen);
        lv_obj_set_pos(bar, i * 80, 0);
        lv_obj_set_size(bar, 80, 170);
        lv_obj_set_style_bg_color(bar, lv_color_hex(colors[i]), 0);
        lv_obj_set_style_bg_opa(bar, LV_OPA_COVER, 0);
        lv_obj_set_style_border_width(bar, 0, 0);
        lv_obj_set_style_radius(bar, 0, 0);
        lv_obj_set_style_pad_all(bar, 0, 0);
        lv_obj_clear_flag(bar, LV_OBJ_FLAG_SCROLLABLE);
    }

    display_blanking_off(display_dev);
    lv_refr_now(NULL);
    k_sleep(K_MSEC(1500));
    lv_obj_clean(screen);
}

static void update_menu(void)
{
    char text[64];
    snprintf(text, sizeof(text), "<  %s  >", menu_items[menu_index]);
    lv_label_set_text(menu_label, text);
}

static void handle_input(uint8_t input_id, bool pressed)
{
    if (!pressed || input_id >= APP_INPUT_COUNT) {
        return;
    }

    char hint[32];
    snprintf(hint, sizeof(hint), "%s INPUT", input_names[input_id]);
    lv_label_set_text(hint_label, hint);

    if (input_id == APP_NAV_UP || input_id == APP_NAV_LEFT ||
        input_id == APP_ENCODER_CCW) {
        menu_index = (menu_index + ARRAY_SIZE(menu_items) - 1) %
                     ARRAY_SIZE(menu_items);
        update_menu();
    } else if (input_id == APP_NAV_DOWN || input_id == APP_NAV_RIGHT ||
               input_id == APP_ENCODER_CW) {
        menu_index = (menu_index + 1) % ARRAY_SIZE(menu_items);
        update_menu();
    } else if (input_id == APP_NAV_PUSH) {
        if (menu_index == 0) {
            set_pet(APP_PET_CHEER);
        } else if (menu_index == 1) {
            set_pet(APP_PET_POINT_DOWN);
        } else {
            set_pet(APP_PET_SCRATCH);
        }
    }
}

static void handle_text(const struct ui_event *event)
{
    if (event->flags & 0x01) {
        message_length = 0;
        message_buffer[0] = '\0';
    }

    size_t room = sizeof(message_buffer) - 1 - message_length;
    size_t copy = MIN((size_t)event->len, room);
    memcpy(&message_buffer[message_length], event->data, copy);
    message_length += copy;
    message_buffer[message_length] = '\0';

    if (event->flags & 0x02) {
        lv_label_set_text(message_label, message_buffer);
        lv_obj_scroll_to_view(message_label, LV_ANIM_ON);
    }
}

int app_ui_init(void)
{
    if (!device_is_ready(display_dev)) {
        LOG_ERR("Display is not ready");
        return -ENODEV;
    }
    lv_obj_t *screen = lv_scr_act();
    show_lcd_self_test(screen);
    lv_obj_clear_flag(screen, LV_OBJ_FLAG_SCROLLABLE);
    lv_obj_set_style_bg_color(screen, COLOR_BG, 0);
    lv_obj_set_style_bg_opa(screen, LV_OPA_COVER, 0);
    lv_obj_set_style_text_font(screen, &lv_font_montserrat_12, 0);

    lv_obj_t *left = lv_obj_create(screen);
    lv_obj_set_pos(left, 4, 4);
    lv_obj_set_size(left, 112, 162);
    lv_obj_set_style_bg_color(left, COLOR_PANEL, 0);
    lv_obj_set_style_bg_opa(left, LV_OPA_COVER, 0);
    lv_obj_set_style_border_color(left, COLOR_LINE, 0);
    lv_obj_set_style_border_width(left, 2, 0);
    lv_obj_set_style_radius(left, 0, 0);
    lv_obj_set_style_pad_all(left, 0, 0);
    lv_obj_clear_flag(left, LV_OBJ_FLAG_SCROLLABLE);

    lv_obj_t *pet_title = lv_label_create(left);
    lv_label_set_text(pet_title, "// MOSS-01 //");
    lv_obj_set_style_text_color(pet_title, COLOR_GREEN, 0);
    lv_obj_align(pet_title, LV_ALIGN_TOP_MID, 0, 7);

    pet_anim = lv_animimg_create(left);
    lv_obj_set_size(pet_anim, 80, 80);
    lv_obj_align(pet_anim, LV_ALIGN_CENTER, 0, -3);
    set_pet(APP_PET_SCRATCH);

    hint_label = lv_label_create(left);
    lv_label_set_text(hint_label, "READY");
    lv_obj_set_style_text_color(hint_label, COLOR_DIM, 0);
    lv_obj_align(hint_label, LV_ALIGN_BOTTOM_MID, 0, -7);

    lv_obj_t *right = lv_obj_create(screen);
    lv_obj_set_pos(right, 120, 4);
    lv_obj_set_size(right, 196, 162);
    lv_obj_set_style_bg_color(right, COLOR_PANEL, 0);
    lv_obj_set_style_bg_opa(right, LV_OPA_COVER, 0);
    lv_obj_set_style_border_color(right, COLOR_LINE, 0);
    lv_obj_set_style_border_width(right, 2, 0);
    lv_obj_set_style_radius(right, 0, 0);
    lv_obj_set_style_pad_all(right, 0, 0);
    lv_obj_clear_flag(right, LV_OBJ_FLAG_SCROLLABLE);

    lv_obj_t *title = lv_label_create(right);
    lv_label_set_text(title, "AI-CODE-PAGER");
    lv_obj_set_style_text_color(title, COLOR_CREAM, 0);
    lv_obj_set_style_text_font(title, &lv_font_montserrat_14, 0);
    lv_obj_set_pos(title, 8, 7);

    status_label = lv_label_create(right);
    lv_label_set_text(status_label, "BLE ...");
    lv_obj_set_style_text_color(status_label, COLOR_PINK, 0);
    lv_obj_align(status_label, LV_ALIGN_TOP_RIGHT, -7, 8);

    lv_obj_t *rule = lv_obj_create(right);
    lv_obj_set_pos(rule, 7, 27);
    lv_obj_set_size(rule, 180, 2);
    lv_obj_set_style_bg_color(rule, COLOR_LINE, 0);
    lv_obj_set_style_border_width(rule, 0, 0);
    lv_obj_set_style_radius(rule, 0, 0);

    lv_obj_t *message_box = lv_obj_create(right);
    lv_obj_set_pos(message_box, 6, 32);
    lv_obj_set_size(message_box, 184, 91);
    lv_obj_set_style_bg_color(message_box, COLOR_BG, 0);
    lv_obj_set_style_bg_opa(message_box, LV_OPA_COVER, 0);
    lv_obj_set_style_border_width(message_box, 0, 0);
    lv_obj_set_style_radius(message_box, 0, 0);
    lv_obj_set_style_pad_all(message_box, 6, 0);
    lv_obj_set_scroll_dir(message_box, LV_DIR_VER);

    message_label = lv_label_create(message_box);
    lv_obj_set_width(message_label, 172);
    lv_label_set_long_mode(message_label, LV_LABEL_LONG_WRAP);
    lv_label_set_text(message_label, message_buffer);
    lv_obj_set_style_text_color(message_label, COLOR_CREAM, 0);
    message_length = strlen(message_buffer);

    menu_label = lv_label_create(right);
    lv_obj_set_style_text_color(menu_label, COLOR_GREEN, 0);
    lv_obj_set_style_text_font(menu_label, &lv_font_montserrat_14, 0);
    lv_obj_align(menu_label, LV_ALIGN_BOTTOM_MID, 0, -10);
    update_menu();

    display_blanking_off(display_dev);
    LOG_INF("320x170 split UI ready");
    return 0;
}

void app_ui_post_input(uint8_t input_id, bool pressed)
{
    struct ui_event event = {
        .type = UI_EVENT_INPUT,
        .arg = input_id,
        .flags = pressed ? 1 : 0,
    };
    (void)k_msgq_put(&ui_queue, &event, K_NO_WAIT);
}

void app_ui_post_text(const uint8_t *text, size_t len, bool start, bool end)
{
    struct ui_event event = {
        .type = UI_EVENT_TEXT,
        .flags = (start ? 0x01 : 0) | (end ? 0x02 : 0),
        .len = MIN(len, (size_t)APP_TEXT_CHUNK_MAX),
    };
    memcpy(event.data, text, event.len);
    (void)k_msgq_put(&ui_queue, &event, K_NO_WAIT);
}

void app_ui_post_pet_state(enum app_pet_state state)
{
    struct ui_event event = { .type = UI_EVENT_PET, .arg = state };
    (void)k_msgq_put(&ui_queue, &event, K_NO_WAIT);
}

void app_ui_post_connection(bool connected)
{
    struct ui_event event = {
        .type = UI_EVENT_CONNECTION,
        .arg = connected ? 1 : 0,
    };
    (void)k_msgq_put(&ui_queue, &event, K_NO_WAIT);
}

void app_ui_process(void)
{
    struct ui_event event;
    while (k_msgq_get(&ui_queue, &event, K_NO_WAIT) == 0) {
        switch (event.type) {
        case UI_EVENT_INPUT:
            handle_input(event.arg, event.flags != 0);
            break;
        case UI_EVENT_TEXT:
            handle_text(&event);
            break;
        case UI_EVENT_PET:
            set_pet((enum app_pet_state)event.arg);
            break;
        case UI_EVENT_CONNECTION:
            lv_label_set_text(status_label, event.arg ? "BLE OK" : "BLE ...");
            lv_obj_set_style_text_color(status_label,
                                        event.arg ? COLOR_GREEN : COLOR_PINK, 0);
            break;
        default:
            break;
        }
    }
}
```
